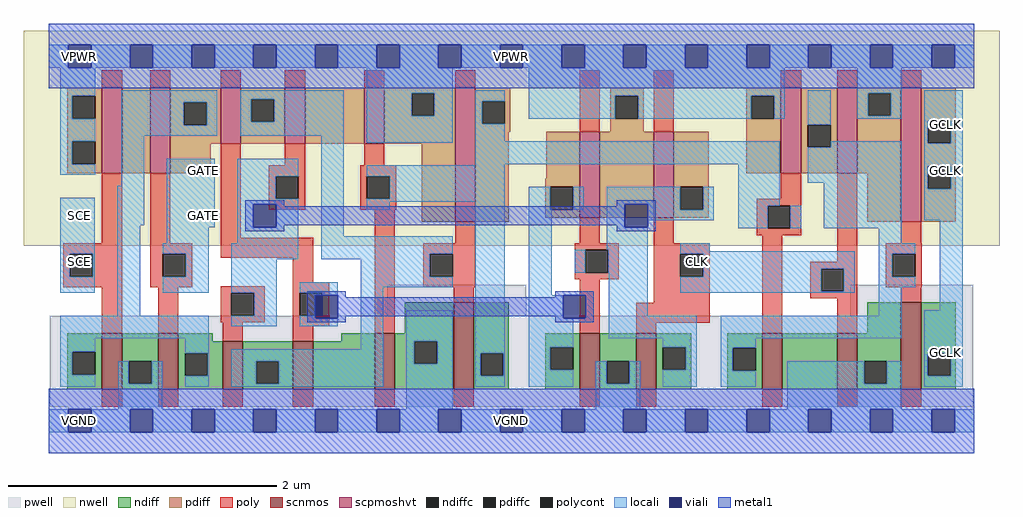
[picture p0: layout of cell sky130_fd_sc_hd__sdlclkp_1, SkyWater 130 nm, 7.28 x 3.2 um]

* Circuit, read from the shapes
.subckt sky130_fd_sc_hd__sdlclkp_1 CLK GATE SCE VGND VNB VPB VPWR GCLK
XM1 VGND SCE n1 VNB sky130_fd_pr__nfet_01v8 w=0.42 l=0.15
XM2 n1 GATE VGND VNB sky130_fd_pr__nfet_01v8 w=0.42 l=0.15
XM3 n2 n3 n1 VNB sky130_fd_pr__nfet_01v8 w=0.36 l=0.15
XM4 n4 n5 n2 VNB sky130_fd_pr__nfet_01v8 w=0.36 l=0.15
XM5 VGND n6 n4 VNB sky130_fd_pr__nfet_01v8 w=0.42 l=0.15
XM6 n6 n2 VGND VNB sky130_fd_pr__nfet_01v8 w=0.65 l=0.15
XM7 VGND n3 n5 VNB sky130_fd_pr__nfet_01v8 w=0.42 l=0.15
XM8 n3 CLK VGND VNB sky130_fd_pr__nfet_01v8 w=0.42 l=0.15
XM9 n7 n6 n8 VNB sky130_fd_pr__nfet_01v8 w=0.42 l=0.15
XM10 VGND CLK n7 VNB sky130_fd_pr__nfet_01v8 w=0.42 l=0.15
XM11 GCLK n8 VGND VNB sky130_fd_pr__nfet_01v8 w=0.65 l=0.15
XM12 n9 SCE VPWR VPB sky130_fd_pr__pfet_01v8_hvt w=0.64 l=0.15
XM13 n1 GATE n9 VPB sky130_fd_pr__pfet_01v8_hvt w=0.64 l=0.15
XM14 n2 n5 n1 VPB sky130_fd_pr__pfet_01v8_hvt w=0.42 l=0.15
XM15 n10 n3 n2 VPB sky130_fd_pr__pfet_01v8_hvt w=0.42 l=0.15
XM16 VPWR n6 n10 VPB sky130_fd_pr__pfet_01v8_hvt w=0.42 l=0.15
XM17 n6 n2 VPWR VPB sky130_fd_pr__pfet_01v8_hvt w=1 l=0.15
XM18 VPWR n3 n5 VPB sky130_fd_pr__pfet_01v8_hvt w=0.64 l=0.15
XM19 n3 CLK VPWR VPB sky130_fd_pr__pfet_01v8_hvt w=0.64 l=0.15
XM20 n8 n6 VPWR VPB sky130_fd_pr__pfet_01v8_hvt w=0.64 l=0.15
XM21 VPWR CLK n8 VPB sky130_fd_pr__pfet_01v8_hvt w=0.64 l=0.15
XM22 GCLK n8 VPWR VPB sky130_fd_pr__pfet_01v8_hvt w=1 l=0.15
.ends

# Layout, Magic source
magic
tech sky130A
magscale 1 2
<< nwell >>
rect -38 261 1418 582
<< pwell >>
rect 505 157 712 203
rect 1195 157 1379 203
rect 1 21 1379 157
rect 29 -17 63 21
<< scnmos >>
rect 79 47 109 131
rect 163 47 193 131
rect 259 47 289 119
rect 364 47 394 119
rect 486 47 516 131
rect 604 47 634 177
rect 792 47 822 131
rect 876 47 906 131
rect 1064 47 1094 131
rect 1176 47 1206 131
rect 1271 47 1301 177
<< scpmoshvt >>
rect 79 369 109 497
rect 151 369 181 497
rect 256 413 286 497
rect 352 413 382 497
rect 470 413 500 497
rect 606 297 636 497
rect 792 303 822 431
rect 902 303 932 431
rect 1092 369 1122 497
rect 1176 369 1206 497
rect 1271 297 1301 497
<< ndiff >>
rect 27 103 79 131
rect 27 69 35 103
rect 69 69 79 103
rect 27 47 79 69
rect 109 89 163 131
rect 109 55 119 89
rect 153 55 163 89
rect 109 47 163 55
rect 193 119 244 131
rect 531 131 604 177
rect 436 119 486 131
rect 193 101 259 119
rect 193 67 203 101
rect 237 67 259 101
rect 193 47 259 67
rect 289 89 364 119
rect 289 55 309 89
rect 343 55 364 89
rect 289 47 364 55
rect 394 47 486 119
rect 516 119 604 131
rect 516 85 545 119
rect 579 85 604 119
rect 516 47 604 85
rect 634 101 686 177
rect 1221 131 1271 177
rect 634 67 644 101
rect 678 67 686 101
rect 634 47 686 67
rect 740 110 792 131
rect 740 76 748 110
rect 782 76 792 110
rect 740 47 792 76
rect 822 89 876 131
rect 822 55 832 89
rect 866 55 876 89
rect 822 47 876 55
rect 906 110 958 131
rect 906 76 916 110
rect 950 76 958 110
rect 906 47 958 76
rect 1012 109 1064 131
rect 1012 75 1020 109
rect 1054 75 1064 109
rect 1012 47 1064 75
rect 1094 47 1176 131
rect 1206 89 1271 131
rect 1206 55 1216 89
rect 1250 55 1271 89
rect 1206 47 1271 55
rect 1301 101 1353 177
rect 1301 67 1311 101
rect 1345 67 1353 101
rect 1301 47 1353 67
<< pdiff >>
rect 27 485 79 497
rect 27 451 35 485
rect 69 451 79 485
rect 27 417 79 451
rect 27 383 35 417
rect 69 383 79 417
rect 27 369 79 383
rect 109 369 151 497
rect 181 475 256 497
rect 181 441 201 475
rect 235 441 256 475
rect 181 413 256 441
rect 286 480 352 497
rect 286 446 302 480
rect 336 446 352 480
rect 286 413 352 446
rect 382 413 470 497
rect 500 489 606 497
rect 500 455 541 489
rect 575 455 606 489
rect 500 413 606 455
rect 181 369 241 413
rect 556 297 606 413
rect 636 477 688 497
rect 636 443 646 477
rect 680 443 688 477
rect 636 431 688 443
rect 837 485 887 497
rect 837 451 845 485
rect 879 451 887 485
rect 837 431 887 451
rect 1040 485 1092 497
rect 1040 451 1048 485
rect 1082 451 1092 485
rect 636 297 686 431
rect 742 361 792 431
rect 740 349 792 361
rect 740 315 748 349
rect 782 315 792 349
rect 740 303 792 315
rect 822 303 902 431
rect 932 349 984 431
rect 1040 369 1092 451
rect 1122 442 1176 497
rect 1122 408 1132 442
rect 1166 408 1176 442
rect 1122 369 1176 408
rect 1206 489 1271 497
rect 1206 455 1222 489
rect 1256 455 1271 489
rect 1206 369 1271 455
rect 932 315 942 349
rect 976 315 984 349
rect 932 303 984 315
rect 1221 297 1271 369
rect 1301 448 1353 497
rect 1301 414 1311 448
rect 1345 414 1353 448
rect 1301 380 1353 414
rect 1301 346 1311 380
rect 1345 346 1353 380
rect 1301 297 1353 346
<< ndiffc >>
rect 35 69 69 103
rect 119 55 153 89
rect 203 67 237 101
rect 309 55 343 89
rect 545 85 579 119
rect 644 67 678 101
rect 748 76 782 110
rect 832 55 866 89
rect 916 76 950 110
rect 1020 75 1054 109
rect 1216 55 1250 89
rect 1311 67 1345 101
<< pdiffc >>
rect 35 451 69 485
rect 35 383 69 417
rect 201 441 235 475
rect 302 446 336 480
rect 541 455 575 489
rect 646 443 680 477
rect 845 451 879 485
rect 1048 451 1082 485
rect 748 315 782 349
rect 1132 408 1166 442
rect 1222 455 1256 489
rect 942 315 976 349
rect 1311 414 1345 448
rect 1311 346 1345 380
<< poly >>
rect 79 497 109 523
rect 151 497 181 523
rect 256 497 286 523
rect 352 497 382 523
rect 470 497 500 523
rect 606 497 636 523
rect 79 265 109 369
rect 21 249 109 265
rect 21 215 31 249
rect 65 215 109 249
rect 21 199 109 215
rect 151 265 181 369
rect 256 273 286 413
rect 352 381 382 413
rect 470 381 500 413
rect 328 365 382 381
rect 328 331 338 365
rect 372 331 382 365
rect 328 315 382 331
rect 464 365 518 381
rect 464 331 474 365
rect 508 331 518 365
rect 464 315 518 331
rect 151 249 214 265
rect 151 215 170 249
rect 204 215 214 249
rect 256 243 394 273
rect 151 199 214 215
rect 364 207 394 243
rect 79 131 109 199
rect 163 131 193 199
rect 256 191 322 201
rect 256 157 272 191
rect 306 157 322 191
rect 256 147 322 157
rect 364 191 418 207
rect 364 157 374 191
rect 408 157 418 191
rect 259 119 289 147
rect 364 141 418 157
rect 364 119 394 141
rect 486 131 516 315
rect 792 431 822 523
rect 902 431 932 523
rect 1092 497 1122 523
rect 1176 497 1206 523
rect 1271 497 1301 523
rect 1092 331 1122 369
rect 1056 321 1122 331
rect 606 265 636 297
rect 792 265 822 303
rect 902 265 932 303
rect 1056 287 1072 321
rect 1106 287 1122 321
rect 1056 277 1122 287
rect 558 249 636 265
rect 558 215 568 249
rect 602 215 636 249
rect 558 199 636 215
rect 784 255 850 265
rect 784 221 800 255
rect 834 221 850 255
rect 784 211 850 221
rect 902 249 986 265
rect 902 215 942 249
rect 976 215 986 249
rect 604 177 634 199
rect 792 131 822 211
rect 902 176 986 215
rect 876 146 986 176
rect 876 131 906 146
rect 1064 131 1094 277
rect 1176 237 1206 369
rect 1271 265 1301 297
rect 1136 227 1206 237
rect 1136 193 1152 227
rect 1186 193 1206 227
rect 1248 249 1302 265
rect 1248 215 1258 249
rect 1292 215 1302 249
rect 1248 199 1302 215
rect 1136 183 1206 193
rect 1176 131 1206 183
rect 1271 177 1301 199
rect 79 21 109 47
rect 163 21 193 47
rect 259 21 289 47
rect 364 21 394 47
rect 486 21 516 47
rect 604 21 634 47
rect 792 21 822 47
rect 876 21 906 47
rect 1064 21 1094 47
rect 1176 21 1206 47
rect 1271 21 1301 47
<< polycont >>
rect 31 215 65 249
rect 338 331 372 365
rect 474 331 508 365
rect 170 215 204 249
rect 272 157 306 191
rect 374 157 408 191
rect 1072 287 1106 321
rect 568 215 602 249
rect 800 221 834 255
rect 942 215 976 249
rect 1152 193 1186 227
rect 1258 215 1292 249
<< locali >>
rect 0 527 29 561
rect 63 527 121 561
rect 155 527 213 561
rect 247 527 305 561
rect 339 527 397 561
rect 431 527 489 561
rect 523 527 581 561
rect 615 527 673 561
rect 707 527 765 561
rect 799 527 857 561
rect 891 527 949 561
rect 983 527 1041 561
rect 1075 527 1133 561
rect 1167 527 1225 561
rect 1259 527 1317 561
rect 1351 527 1380 561
rect 17 485 69 527
rect 17 451 35 485
rect 17 417 69 451
rect 17 383 35 417
rect 17 367 69 383
rect 108 475 251 493
rect 108 441 201 475
rect 235 441 251 475
rect 108 425 251 441
rect 285 480 440 493
rect 285 446 302 480
rect 336 446 440 480
rect 285 425 440 446
rect 108 351 142 425
rect 17 249 68 333
rect 17 215 31 249
rect 65 215 68 249
rect 17 191 68 215
rect 102 292 142 351
rect 102 157 136 292
rect 176 289 247 391
rect 281 365 372 391
rect 281 331 338 365
rect 281 323 372 331
rect 281 289 305 323
rect 339 289 372 323
rect 176 265 238 289
rect 281 265 372 289
rect 170 249 238 265
rect 204 215 238 249
rect 170 191 238 215
rect 272 241 372 265
rect 406 275 440 425
rect 474 489 602 527
rect 474 455 541 489
rect 575 455 602 489
rect 474 415 602 455
rect 636 477 680 493
rect 636 443 646 477
rect 716 485 1098 527
rect 716 451 845 485
rect 879 451 1048 485
rect 1082 451 1098 485
rect 636 417 680 443
rect 1132 442 1166 493
rect 1206 489 1272 527
rect 1206 455 1222 489
rect 1256 455 1272 489
rect 1206 451 1272 455
rect 636 383 1090 417
rect 636 381 680 383
rect 474 365 680 381
rect 508 331 680 365
rect 474 327 680 331
rect 474 315 508 327
rect 406 249 602 275
rect 406 241 568 249
rect 272 191 340 241
rect 465 215 568 241
rect 306 157 340 191
rect 17 123 238 157
rect 272 141 340 157
rect 374 191 431 207
rect 408 187 431 191
rect 374 153 397 157
rect 374 141 431 153
rect 465 199 602 215
rect 17 103 69 123
rect 17 69 35 103
rect 203 101 238 123
rect 465 107 499 199
rect 17 51 69 69
rect 103 55 119 89
rect 153 55 169 89
rect 103 17 169 55
rect 237 67 238 101
rect 203 51 238 67
rect 272 89 499 107
rect 272 55 309 89
rect 343 55 499 89
rect 272 51 499 55
rect 533 119 602 165
rect 533 85 545 119
rect 579 85 602 119
rect 533 17 602 85
rect 636 101 680 327
rect 636 67 644 101
rect 678 67 680 101
rect 636 51 680 67
rect 716 315 748 349
rect 782 315 798 349
rect 832 323 942 349
rect 716 187 750 315
rect 832 289 859 323
rect 893 315 942 323
rect 976 315 992 349
rect 893 299 992 315
rect 1028 321 1090 383
rect 1306 448 1363 493
rect 1166 408 1272 417
rect 1132 355 1272 408
rect 832 255 893 289
rect 1028 287 1072 321
rect 1106 287 1122 321
rect 1156 287 1272 355
rect 1306 414 1311 448
rect 1345 414 1363 448
rect 1306 380 1363 414
rect 1306 346 1311 380
rect 1345 346 1363 380
rect 1306 299 1363 346
rect 1238 265 1272 287
rect 784 221 800 255
rect 834 221 893 255
rect 716 153 767 187
rect 835 157 893 221
rect 942 253 986 265
rect 942 249 1202 253
rect 976 227 1202 249
rect 976 215 1152 227
rect 942 193 1152 215
rect 1186 193 1202 227
rect 942 191 1202 193
rect 1238 249 1292 265
rect 1238 215 1258 249
rect 1238 199 1292 215
rect 1238 157 1272 199
rect 1329 165 1363 299
rect 716 110 782 153
rect 835 123 966 157
rect 716 76 748 110
rect 916 110 966 123
rect 716 51 782 76
rect 816 55 832 89
rect 866 55 882 89
rect 816 17 882 55
rect 950 76 966 110
rect 916 51 966 76
rect 1002 123 1272 157
rect 1002 109 1054 123
rect 1002 75 1020 109
rect 1306 101 1363 165
rect 1002 51 1054 75
rect 1101 55 1216 89
rect 1250 55 1272 89
rect 1101 17 1272 55
rect 1306 67 1311 101
rect 1345 67 1363 101
rect 1306 51 1363 67
rect 0 -17 29 17
rect 63 -17 121 17
rect 155 -17 213 17
rect 247 -17 305 17
rect 339 -17 397 17
rect 431 -17 489 17
rect 523 -17 581 17
rect 615 -17 673 17
rect 707 -17 765 17
rect 799 -17 857 17
rect 891 -17 949 17
rect 983 -17 1041 17
rect 1075 -17 1133 17
rect 1167 -17 1225 17
rect 1259 -17 1317 17
rect 1351 -17 1380 17
<< viali >>
rect 29 527 63 561
rect 121 527 155 561
rect 213 527 247 561
rect 305 527 339 561
rect 397 527 431 561
rect 489 527 523 561
rect 581 527 615 561
rect 673 527 707 561
rect 765 527 799 561
rect 857 527 891 561
rect 949 527 983 561
rect 1041 527 1075 561
rect 1133 527 1167 561
rect 1225 527 1259 561
rect 1317 527 1351 561
rect 305 289 339 323
rect 397 157 408 187
rect 408 157 431 187
rect 397 153 431 157
rect 859 289 893 323
rect 767 153 801 187
rect 29 -17 63 17
rect 121 -17 155 17
rect 213 -17 247 17
rect 305 -17 339 17
rect 397 -17 431 17
rect 489 -17 523 17
rect 581 -17 615 17
rect 673 -17 707 17
rect 765 -17 799 17
rect 857 -17 891 17
rect 949 -17 983 17
rect 1041 -17 1075 17
rect 1133 -17 1167 17
rect 1225 -17 1259 17
rect 1317 -17 1351 17
<< metal1 >>
rect 0 561 1380 592
rect 0 527 29 561
rect 63 527 121 561
rect 155 527 213 561
rect 247 527 305 561
rect 339 527 397 561
rect 431 527 489 561
rect 523 527 581 561
rect 615 527 673 561
rect 707 527 765 561
rect 799 527 857 561
rect 891 527 949 561
rect 983 527 1041 561
rect 1075 527 1133 561
rect 1167 527 1225 561
rect 1259 527 1317 561
rect 1351 527 1380 561
rect 0 496 1380 527
rect 293 323 351 329
rect 293 289 305 323
rect 339 320 351 323
rect 847 323 905 329
rect 847 320 859 323
rect 339 292 859 320
rect 339 289 351 292
rect 293 283 351 289
rect 847 289 859 292
rect 893 289 905 323
rect 847 283 905 289
rect 385 187 443 193
rect 385 153 397 187
rect 431 184 443 187
rect 755 187 813 193
rect 755 184 767 187
rect 431 156 767 184
rect 431 153 443 156
rect 385 147 443 153
rect 755 153 767 156
rect 801 153 813 187
rect 755 147 813 153
rect 0 17 1380 48
rect 0 -17 29 17
rect 63 -17 121 17
rect 155 -17 213 17
rect 247 -17 305 17
rect 339 -17 397 17
rect 431 -17 489 17
rect 523 -17 581 17
rect 615 -17 673 17
rect 707 -17 765 17
rect 799 -17 857 17
rect 891 -17 949 17
rect 983 -17 1041 17
rect 1075 -17 1133 17
rect 1167 -17 1225 17
rect 1259 -17 1317 17
rect 1351 -17 1380 17
rect 0 -48 1380 -17
<< labels >>
flabel locali s 29 289 63 323 0 FreeSans 200 0 0 0 SCE
port 3 nsew signal input
flabel locali s 951 221 985 255 0 FreeSans 200 0 0 0 CLK
port 1 nsew clock input
flabel locali s 1321 425 1355 459 0 FreeSans 200 0 0 0 GCLK
port 8 nsew signal output
flabel locali s 1321 357 1355 391 0 FreeSans 200 0 0 0 GCLK
port 8 nsew signal output
flabel locali s 213 357 247 391 0 FreeSans 200 0 0 0 GATE
port 2 nsew signal input
flabel locali s 1321 85 1355 119 0 FreeSans 200 0 0 0 GCLK
port 8 nsew signal output
flabel locali s 213 289 247 323 0 FreeSans 200 0 0 0 GATE
port 2 nsew signal input
flabel locali s 29 221 63 255 0 FreeSans 200 0 0 0 SCE
port 3 nsew signal input
flabel metal1 s 29 -17 63 17 0 FreeSans 200 0 0 0 VGND
port 4 nsew ground bidirectional abutment
flabel metal1 s 29 527 63 561 0 FreeSans 200 0 0 0 VPWR
port 7 nsew power bidirectional abutment
flabel nwell s 29 527 63 561 0 FreeSans 200 0 0 0 VPB
port 6 nsew power bidirectional
flabel pwell s 29 -17 63 17 0 FreeSans 200 0 0 0 VNB
port 5 nsew ground bidirectional
rlabel comment s 0 0 0 0 4 sdlclkp_1
rlabel metal1 s 0 -48 1380 48 1 VGND
port 4 nsew ground bidirectional abutment
rlabel metal1 s 0 496 1380 592 1 VPWR
port 7 nsew power bidirectional abutment
<< properties >>
string FIXED_BBOX 0 0 1380 544
string GDS_END 419710
string GDS_FILE $PDKPATH/libs.ref/sky130_fd_sc_hd/gds/sky130_fd_sc_hd.gds
string GDS_START 408734
string LEFclass CORE
string LEFsite unithd
string LEFsymmetry X Y R90
string path 0.000 0.000 6.900 0.000 
<< end >>
